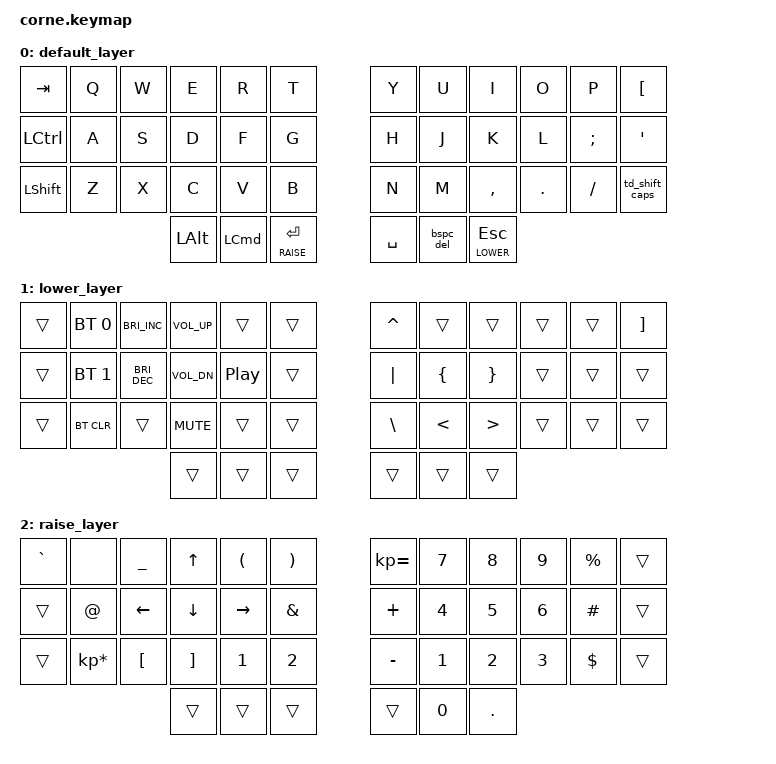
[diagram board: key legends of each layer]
/*
 * Copyright (c) 2020 The ZMK Contributors
 *
 * SPDX-License-Identifier: MIT
 */

#include <behaviors.dtsi>
#include <dt-bindings/zmk/keys.h>
#include <dt-bindings/zmk/bt.h>

// Rename layers.
#define BASE 0
#define LOWER 1
#define RAISE 2

/ {
    behaviors {
        bspc_del: backspace_delete {
            compatible = "zmk,behavior-mod-morph";
            label = "BACKSPACE_DELETE";
            #binding-cells = <0>;
            bindings = <&kp BACKSPACE>, <&kp DELETE>;
            mods = <(MOD_LSFT|MOD_RSFT)>;
        };
        td_shift_caps: tap_dance_0 {
            compatible = "zmk,behavior-tap-dance";
            label = "TD_SHIFT_CAPS";
            #binding-cells = <0>;
            tapping-term-ms = <200>;
            bindings = <&kp RSHIFT>, <&kp CAPS>;
        };
    };
};

&lt {
    tapping-term-ms = <100>;
    retro-tap;
};

&mt {
    tapping-term-ms = <150>;
};

/ {
  keymap {
    compatible = "zmk,keymap";

    default_layer {
      bindings = <
        &kp TAB  &kp Q &kp W &kp E &kp R &kp T &kp Y &kp U &kp I &kp O &kp P &kp LEFT_BRACKET
        &kp LCTRL &kp A &kp S &kp D &kp F &kp G &kp H &kp J &kp K &kp L &kp SEMI &kp SQT
        &kp LSHIFT &kp Z &kp X &kp C &kp V &kp B &kp N &kp M &kp COMMA &kp DOT &kp FSLH &td_shift_caps
        &kp LALT &kp LCMD &lt RAISE ENTER &kp SPACE &bspc_del &lt LOWER ESC
      >;
    };

    lower_layer {
      bindings = <
        &trans &bt BT_SEL 0 &kp C_BRIGHTNESS_INC &kp C_VOL_UP &trans &trans &kp CARET &trans &trans &trans &trans &kp RIGHT_BRACKET
        &trans &bt BT_SEL 1 &kp C_BRIGHTNESS_DEC &kp C_VOL_DN &kp C_PLAY_PAUSE &trans &kp PIPE &kp LEFT_BRACE &kp RIGHT_BRACE &trans &trans &trans
        &trans &bt BT_CLR &trans &kp K_MUTE &trans &trans &kp BACKSLASH &kp LESS_THAN &kp GREATER_THAN &trans &trans &trans
        &trans &trans &trans &trans &trans &trans
      >;
    };

    raise_layer {
      bindings = <
        &kp GRAVE &none &kp UNDERSCORE &kp UP &kp LEFT_PARENTHESIS &kp RIGHT_PARENTHESIS &kp KP_EQUAL &kp N7 &kp N8 &kp N9 &kp PERCENT &trans
        &trans &kp AT_SIGN &kp LEFT &kp DOWN &kp RIGHT &kp AMPERSAND &kp PLUS &kp N4 &kp N5 &kp N6 &kp HASH &trans
        &trans &kp KP_MULTIPLY &kp LEFT_BRACKET &kp RIGHT_BRACKET &kp N1 &kp N2 &kp MINUS &kp N1 &kp N2 &kp N3 &kp DOLLAR &trans
        &trans &trans &trans &trans &kp N0 &kp DOT
      >;
    };
  };
};
